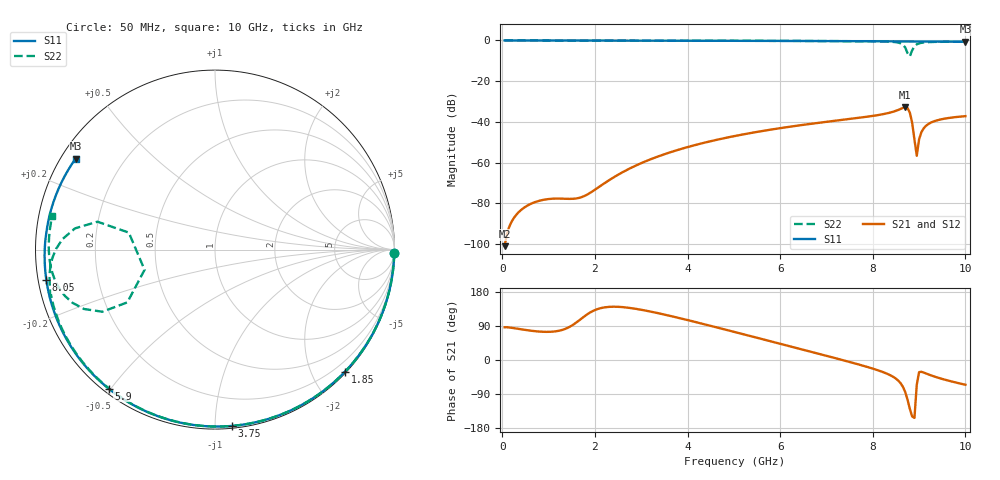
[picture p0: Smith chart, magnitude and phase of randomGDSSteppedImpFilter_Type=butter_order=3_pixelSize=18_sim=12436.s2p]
! freq	dB(S11)	phase(S11)	dB(S12)	phase(S12)
!  dB(S21)	phase(S21)	dB(S22)	phase(S22)
!S-par simulation data
#  GHz  S  DB  R 50
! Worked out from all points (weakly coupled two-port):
!   200 points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, 50 MHz to 10 GHz, reference 50 ohm
!   highest |S21| = -32.82 dB at 8.7 GHz (marker M1); lowest = -101.1 dB at 50 MHz (marker M2)
!   lowest |S11| = -0.7 dB at 10 GHz (marker M3), VSWR 26.56, Z = 2.05 + j14.9 ohm
!   |S11| at or under -10 dB: nowhere
!   |S22| runs from -7.8 to 0.0 dB; largest |S21 - S12| = 0
!   S11 on the Smith chart (normalised r, x): 50 MHz: open; 1.85 GHz: 0.02, -2.52; 3.75 GHz: 0.01, -1.10; 5.9 GHz: 0.02, -0.49; 8.05 GHz: 0.02, -0.09; 10 GHz: 0.04, +0.30
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0.05  -0.01 -1.1  -101.13 86.3  -101.13 86.3  -0.01 -1.1
1.75  -0.05 -41.0  -76.69 113.1  -76.69 113.1  -0.05 -38.2
1.85  -0.06 -43.2  -75.55 121.8  -75.55 121.8  -0.05 -40.3
2.65  -0.08 -61.1  -64.13 138.9  -64.13 138.9  -0.07 -57.0
3.4  -0.10 -77.2  -56.73 122.6  -56.73 122.6  -0.09 -72.1
3.75  -0.11 -84.5  -54.09 112.8  -54.09 112.8  -0.11 -79.0
5.05  -0.17 -110.8  -46.84 72.9  -46.84 72.9  -0.16 -103.8
5.9  -0.22 -127.5  -43.46 46.0  -43.46 46.0  -0.21 -119.5
6.7  -0.28 -143.0  -40.87 20.7  -40.87 20.7  -0.26 -134.3
8.05  -0.40 -169.9  -36.92 -24.7  -36.92 -24.7  -0.43 -161.7
8.35  -0.43 -176.1  -35.61 -38.5  -35.61 -38.5  -0.59 -170.5
8.6  -0.46 178.7  -33.68 -61.1  -33.68 -61.1  -1.40 176.0
8.7  -0.48 176.5  -32.82 -84.3  -32.82 -84.3  -3.44 166.7
8.75  -0.49 175.4  -33.21 -104.4  -33.21 -104.4  -6.21 168.8
8.8  -0.50 174.4  -35.46 -128.9  -35.46 -128.9  -7.78 -164.0
8.85  -0.50 173.3  -40.37 -148.9  -40.37 -148.9  -4.88 -149.0
8.95  -0.51 171.1  -56.70 -65.1  -56.70 -65.1  -1.93 -155.6
9  -0.52 170.0  -48.61 -32.1  -48.61 -32.1  -1.44 -159.5
9.05  -0.52 168.9  -45.10 -31.2  -45.10 -31.2  -1.16 -162.8
9.15  -0.54 166.7  -41.95 -35.6  -41.95 -35.6  -0.89 -167.8
9.45  -0.58 159.9  -38.91 -48.3  -38.91 -48.3  -0.68 -177.9
10  -0.65 146.8  -37.22 -65.3  -37.22 -65.3  -0.67 168.3
